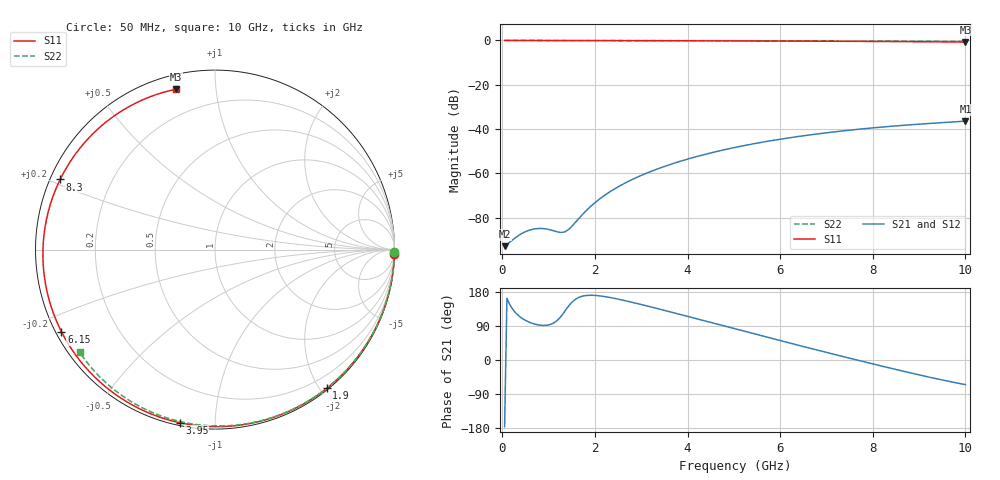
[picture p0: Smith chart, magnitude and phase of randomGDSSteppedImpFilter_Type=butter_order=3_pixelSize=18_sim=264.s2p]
! freq	dB(S11)	phase(S11)	dB(S12)	phase(S12)
!  dB(S21)	phase(S21)	dB(S22)	phase(S22)
!S-par simulation data
#  GHz  S  DB  R 50
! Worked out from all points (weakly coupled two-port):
!   200 points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, 50 MHz to 10 GHz, reference 50 ohm
!   highest |S21| = -36.40 dB at 10 GHz (marker M1); lowest = -92.8 dB at 50 MHz (marker M2)
!   lowest |S11| = -0.7 dB at 10 GHz (marker M3), VSWR 23.79, Z = 3.39 + j39.1 ohm
!   |S11| at or under -10 dB: nowhere
!   |S22| runs from -0.5 to 0.0 dB; largest |S21 - S12| = 0
!   S11 on the Smith chart (normalised r, x): 50 MHz: 0, -83; 1.9 GHz: 0.02, -2.09; 3.95 GHz: 0.01, -0.82; 6.15 GHz: 0.02, -0.25; 8.3 GHz: 0.03, +0.22; 10 GHz: 0.07, +0.78
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0.05  -0.00 -1.4  -92.80 -176.3  -92.80 -176.3  -0.00 -0.8
0.8  -0.02 -22.0  -84.81 92.2  -84.81 92.2  -0.01 -13.1
1.65  -0.06 -44.6  -80.38 165.1  -80.38 165.1  -0.03 -26.8
1.75  -0.06 -47.2  -78.10 169.0  -78.10 169.0  -0.04 -28.4
1.9  -0.06 -51.1  -75.02 170.8  -75.02 170.8  -0.04 -30.8
2.2  -0.07 -58.9  -70.00 167.6  -70.00 167.6  -0.05 -35.6
2.55  -0.09 -67.7  -65.46 159.4  -65.46 159.4  -0.05 -41.0
2.95  -0.10 -77.6  -61.33 147.9  -61.33 147.9  -0.06 -47.2
3.4  -0.11 -88.6  -57.58 134.1  -57.58 134.1  -0.07 -54.1
3.95  -0.14 -101.6  -53.83 116.7  -53.83 116.7  -0.09 -62.3
4.5  -0.16 -114.3  -50.74 99.1  -50.74 99.1  -0.10 -70.3
5.05  -0.19 -126.9  -48.15 81.5  -48.15 81.5  -0.12 -78.1
5.6  -0.22 -139.3  -45.95 63.9  -45.95 63.9  -0.14 -85.8
6.15  -0.26 -151.8  -44.07 46.5  -44.07 46.5  -0.17 -93.2
6.7  -0.31 -164.5  -42.45 29.3  -42.45 29.3  -0.19 -100.6
7.5  -0.38 176.2  -40.47 4.7  -40.47 4.7  -0.24 -111.0
8.3  -0.47 155.6  -38.88 -19.2  -38.88 -19.2  -0.31 -121.3
8.35  -0.48 154.3  -38.79 -20.7  -38.79 -20.7  -0.31 -121.9
8.75  -0.53 143.1  -38.13 -32.2  -38.13 -32.2  -0.35 -127.0
9.15  -0.58 131.4  -37.54 -43.4  -37.54 -43.4  -0.39 -132.0
9.6  -0.65 117.2  -36.93 -55.3  -36.93 -55.3  -0.43 -137.7
10  -0.73 103.8  -36.40 -65.0  -36.40 -65.0  -0.48 -142.8
